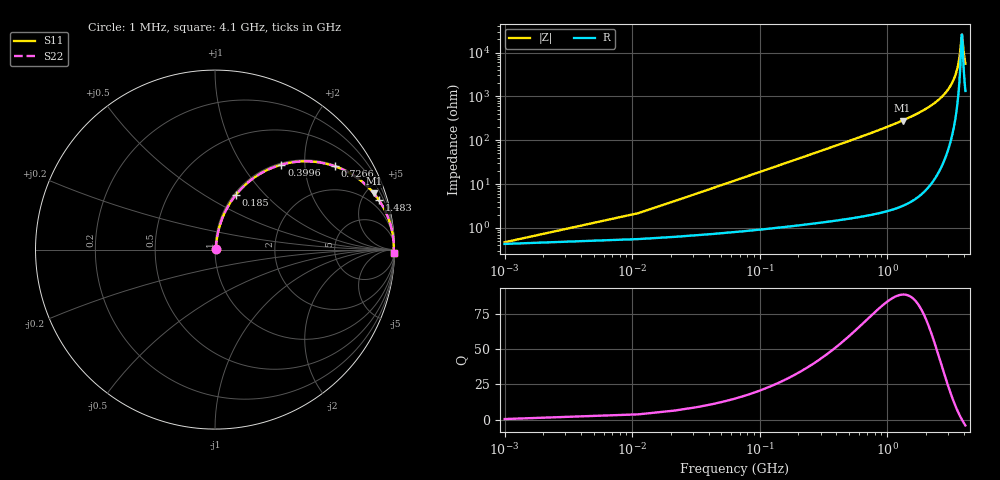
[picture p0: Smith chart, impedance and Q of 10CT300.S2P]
! Coilcraft 1008CT-300 Chip Inductor
! 17 July 2002
# MHZ S MA R 50
!Freq  MagS11  AngS11  MagS21  AngS21  MagS12  AngS12  MagS22  AngS22
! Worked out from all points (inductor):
!   403 points, 1 MHz to 4.1 GHz, reference 50 ohm
!   read as one part in series: L = 30 nH near 21.44 MHz
!   highest Q = 88.6 at 1.319 GHz (marker M1), where L = 34 nH
!   self-resonance near 3.844 GHz
!   S11 on the Smith chart (normalised r, x): 1 MHz: 1.01, +0.00; 185 MHz: 1.02, +0.70; 399.6 MHz: 1.03, +1.52; 726.6 MHz: 1.04, +2.84; 1.483 GHz: 1.07, +6.56; 4.1 GHz: open
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1  0.004708 23.4  0.9957 -0.1  0.9957 -0.1  0.004708 23.4
31.66  0.05956 80.1  0.9915 -3.4  0.9915 -3.4  0.05956 80.1
52.1  0.09731 80.0  0.9877 -5.6  0.9877 -5.6  0.09731 80.0
103.2  0.1896 76.4  0.9729 -10.9  0.9729 -10.9  0.1896 76.4
184.96  0.3268 69.1  0.9347 -19.1  0.9347 -19.1  0.3268 69.1
276.94  0.4602 61.2  0.8767 -27.4  0.8767 -27.4  0.4602 61.2
399.58  0.6003 52.0  0.7882 -36.9  0.7882 -36.9  0.6003 52.0
685.74  0.795 36.5  0.5955 -52.6  0.5955 -52.6  0.795 36.5
726.62  0.8124 34.9  0.572 -54.3  0.572 -54.3  0.8124 34.9
992.34  0.8905 26.4  0.4444 -62.9  0.4444 -62.9  0.8905 26.4
1319.38  0.9391 19.5  0.3332 -69.9  0.3332 -69.9  0.9391 19.5
1370.48  0.9441 18.6  0.3191 -70.7  0.3191 -70.7  0.9441 18.6
1482.9  0.9536 16.9  0.2905 -72.5  0.2905 -72.5  0.9536 16.9
2055.22  0.9809 10.4  0.181 -78.7  0.181 -78.7  0.9809 10.4
2739.96  0.9928 5.4  0.09486 -82.9  0.09486 -82.9  0.9928 5.4
3138.54  0.9954 3.2  0.05648 -83.7  0.05648 -83.7  0.9954 3.2
3424.7  0.9962 1.8  0.03235 -82.3  0.03235 -82.3  0.9962 1.8
3659.76  0.9963 0.8  0.01435 -74.7  0.01435 -74.7  0.9963 0.8
3843.72  0.9962 0.0  0.003862 -6.4  0.003862 -6.4  0.9962 0.0
3874.38  0.9961 -0.1  0.004257 24.1  0.004257 24.1  0.9961 -0.1
3997.02  0.9959 -0.6  0.01107 67.9  0.01107 67.9  0.9959 -0.6
4100  0.9956 -1.0  0.01779 75.3  0.01779 75.3  0.9956 -1.0
